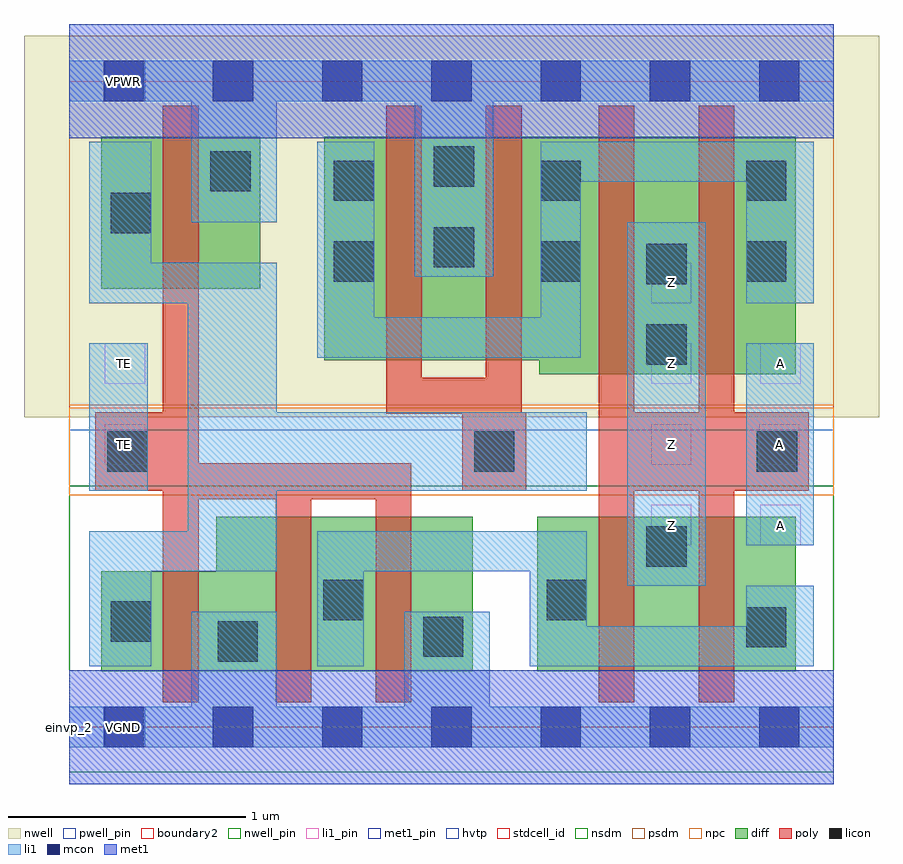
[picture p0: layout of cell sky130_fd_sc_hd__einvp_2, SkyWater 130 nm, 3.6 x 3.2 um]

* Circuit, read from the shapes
.subckt sky130_fd_sc_hd__einvp_2 A TE VGND VNB VPB VPWR Z
XM1 VGND TE n1 VNB sky130_fd_pr__nfet_01v8 w=0.42 l=0.15
XM2 n2 TE VGND VNB sky130_fd_pr__nfet_01v8 w=0.65 l=0.15 m=2
XM3 Z A n2 VNB sky130_fd_pr__nfet_01v8 w=0.65 l=0.15 m=2
XM4 VPWR TE n1 VPB sky130_fd_pr__pfet_01v8_hvt w=0.64 l=0.15
XM5 VPWR n1 n3 VPB sky130_fd_pr__pfet_01v8_hvt w=0.94 l=0.15 m=2
XM6 Z A n3 VPB sky130_fd_pr__pfet_01v8_hvt w=1 l=0.15 m=2
.ends

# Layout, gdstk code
import gdstk
lib = gdstk.Library(unit=1e-6, precision=1e-09)
def R(c, l, rs):  # rectangles x0, y0, x1, y1
    for r in rs: c.add(gdstk.rectangle(r[:2], r[2:], *l))
def A(c, l, x, y, w, h, nx, ny, dx, dy):  # array of equal rectangles
    R(c, l, [(x+i*dx, y+j*dy, x+i*dx+w, y+j*dy+h) for i in range(nx) for j in range(ny)])
def P(c, l, *ps):  # polygons
    for p in ps: c.add(gdstk.Polygon(p, *l))
nwell_pin = (64, 16)
nwell = (64, 20)
diff = (65, 20)
poly = (66, 20)
licon = (66, 44)
li1_pin = (67, 16)
li1 = (67, 20)
mcon = (67, 44)
met1_pin = (68, 16)
met1 = (68, 20)
hvtp = (78, 44)
stdcell_id = (81, 4)
nsdm = (93, 44)
psdm = (94, 20)
npc = (95, 20)
pwell_pin = (122, 16)
boundary2 = (236, 0)

sky130_fd_sc_hd__einvp_2 = lib.new_cell('sky130_fd_sc_hd__einvp_2')
R(sky130_fd_sc_hd__einvp_2, nwell_pin, [(0.15,2.635,0.32,2.805)])
R(sky130_fd_sc_hd__einvp_2, nwell, [(-0.19,1.305,3.41,2.91)])
R(sky130_fd_sc_hd__einvp_2, diff, [(1.97,0.235,3.06,0.885), (0.135,1.845,0.805,2.485)])
P(sky130_fd_sc_hd__einvp_2, diff, [(1.7,0.885),(0.62,0.885),(0.62,0.655),(0.135,0.655),(0.135,0.235),(1.7,0.235)],
  [(3.06,2.485),(1.075,2.485),(1.075,1.545),(1.98,1.545),(1.98,1.485),(3.06,1.485)])
P(sky130_fd_sc_hd__einvp_2, poly, [(1.925,1.325),(1.905,1.325),(1.905,2.615),(1.755,2.615),(1.755,1.47),(1.485,1.47),(1.485,2.615),(1.335,2.615),(1.335,1.32),(1.655,1.32),(1.655,0.995),(1.925,0.995)],
  [(1.44,1.11),(0.545,1.11),(0.545,2.615),(0.395,2.615),(0.395,1.325),(0.11,1.325),(0.11,0.995),(0.395,0.995),(0.395,0.105),(0.545,0.105),(0.545,0.96),(0.87,0.96),(0.87,0.105),(1.02,0.105),(1.02,0.96),(1.29,0.96),(1.29,0.105),(1.44,0.105)],
  [(3.115,1.325),(2.8,1.325),(2.8,2.615),(2.65,2.615),(2.65,1.325),(2.38,1.325),(2.38,2.615),(2.23,2.615),(2.23,0.105),(2.38,0.105),(2.38,0.995),(2.65,0.995),(2.65,0.105),(2.8,0.105),(2.8,0.995),(3.115,0.995)])
R(sky130_fd_sc_hd__einvp_2, licon, [(0.625,0.275,0.795,0.445), (1.49,0.295,1.66,0.465), (2.85,0.335,3.02,0.505), (0.175,0.36,0.345,0.53), (1.07,0.45,1.24,0.62), (2.01,0.45,2.18,0.62), (2.43,0.675,2.6,0.845), (0.16,1.075,0.33,1.245), (1.705,1.075,1.875,1.245), (2.895,1.075,3.065,1.245), (2.43,1.525,2.6,1.695), (2.43,1.865,2.6,2.035), (1.115,1.875,1.285,2.045), (1.985,1.875,2.155,2.045), (2.85,1.875,3.02,2.045), (1.535,1.935,1.705,2.105), (0.175,2.08,0.345,2.25), (1.115,2.215,1.285,2.385), (1.985,2.215,2.155,2.385), (2.85,2.215,3.02,2.385), (0.595,2.255,0.765,2.425), (1.535,2.275,1.705,2.445)])
A(sky130_fd_sc_hd__einvp_2, li1_pin, 2.45, 0.765, 0.17, 0.17, 1, 4, 0, 0.34)
R(sky130_fd_sc_hd__einvp_2, li1_pin, [(2.91,0.765,3.08,0.935), (0.15,1.105,0.32,1.275), (2.905,1.105,3.075,1.275), (0.15,1.445,0.32,1.615), (2.91,1.445,3.08,1.615)])
R(sky130_fd_sc_hd__einvp_2, li1, [(2.35,0.595,2.68,2.125), (2.85,0.765,3.135,1.615), (0.085,0.995,0.33,1.615)])
P(sky130_fd_sc_hd__einvp_2, li1, [(3.22,2.805),(0,2.805),(0,2.635),(0.515,2.635),(0.515,2.125),(0.875,2.125),(0.875,2.635),(1.455,2.635),(1.455,1.895),(1.785,1.895),(1.785,2.635),(3.22,2.635)],
  [(3.135,0.595),(2.85,0.595),(2.85,0.425),(2.18,0.425),(2.18,0.825),(1.045,0.825),(1.045,0.255),(1.24,0.255),(1.24,0.655),(1.94,0.655),(1.94,0.255),(3.135,0.255)],
  [(3.135,2.465),(1.985,2.465),(1.985,1.725),(1.285,1.725),(1.285,2.465),(1.045,2.465),(1.045,1.555),(2.155,1.555),(2.155,2.295),(2.85,2.295),(2.85,1.785),(3.135,1.785)],
  [(2.18,1.325),(0.875,1.325),(0.875,1.955),(0.345,1.955),(0.345,2.465),(0.085,2.465),(0.085,1.785),(0.5,1.785),(0.5,0.825),(0.085,0.825),(0.085,0.255),(0.345,0.255),(0.345,0.655),(0.875,0.655),(0.875,0.995),(2.18,0.995)],
  [(3.22,0.085),(1.77,0.085),(1.77,0.485),(1.41,0.485),(1.41,0.085),(0.875,0.085),(0.875,0.485),(0.515,0.485),(0.515,0.085),(0,0.085),(0,-0.085),(3.22,-0.085)])
A(sky130_fd_sc_hd__einvp_2, mcon, 0.145, -0.085, 0.17, 0.17, 7, 2, 0.46, 2.72)
R(sky130_fd_sc_hd__einvp_2, met1_pin, [(0.15,-0.085,0.32,0.085), (0.15,2.635,0.32,2.805)])
R(sky130_fd_sc_hd__einvp_2, hvtp, [(0,1.25,3.22,2.72)])
R(sky130_fd_sc_hd__einvp_2, stdcell_id, [(0,0,3.22,2.72)])
R(sky130_fd_sc_hd__einvp_2, nsdm, [(0,-0.19,3.22,1.015)])
R(sky130_fd_sc_hd__einvp_2, psdm, [(0,1.355,3.22,2.91)])
R(sky130_fd_sc_hd__einvp_2, npc, [(0,0.975,3.22,1.345)])
R(sky130_fd_sc_hd__einvp_2, pwell_pin, [(0.15,-0.085,0.32,0.085)])
R(sky130_fd_sc_hd__einvp_2, boundary2, [(0,0,3.22,2.72)])
sky130_fd_sc_hd__einvp_2.add(gdstk.FlexPath([(0,2.72),(3.22,2.72)], 0.48, ends="flush", simple_path=True, layer=68, datatype=20))  # met1
sky130_fd_sc_hd__einvp_2.add(gdstk.FlexPath([(0,0),(3.22,0)], 0.48, ends="flush", simple_path=True, layer=68, datatype=20))  # met1
sky130_fd_sc_hd__einvp_2.add(gdstk.Label('A', (2.995,0.85), layer=67, texttype=5))
sky130_fd_sc_hd__einvp_2.add(gdstk.Label('A', (2.995,1.53), layer=67, texttype=5))
sky130_fd_sc_hd__einvp_2.add(gdstk.Label('A', (2.99,1.19), layer=67, texttype=5))
sky130_fd_sc_hd__einvp_2.add(gdstk.Label('Z', (2.535,0.85), layer=67, texttype=5))
sky130_fd_sc_hd__einvp_2.add(gdstk.Label('Z', (2.535,1.19), layer=67, texttype=5))
sky130_fd_sc_hd__einvp_2.add(gdstk.Label('Z', (2.535,1.53), layer=67, texttype=5))
sky130_fd_sc_hd__einvp_2.add(gdstk.Label('Z', (2.535,1.87), layer=67, texttype=5))
sky130_fd_sc_hd__einvp_2.add(gdstk.Label('TE', (0.235,1.19), layer=67, texttype=5))
sky130_fd_sc_hd__einvp_2.add(gdstk.Label('TE', (0.235,1.53), layer=67, texttype=5))
sky130_fd_sc_hd__einvp_2.add(gdstk.Label('VGND', (0.23,0), layer=68, texttype=5))
sky130_fd_sc_hd__einvp_2.add(gdstk.Label('VPWR', (0.23,2.72), layer=68, texttype=5))
sky130_fd_sc_hd__einvp_2.add(gdstk.Label('VPB', (0.235,2.72), layer=64, texttype=5))
sky130_fd_sc_hd__einvp_2.add(gdstk.Label('VNB', (0.235,0), layer=64, texttype=59))
sky130_fd_sc_hd__einvp_2.add(gdstk.Label('einvp_2', (0,0), layer=83, texttype=44))

lib.write_gds('sky130_fd_sc_hd__einvp_2.gds')
